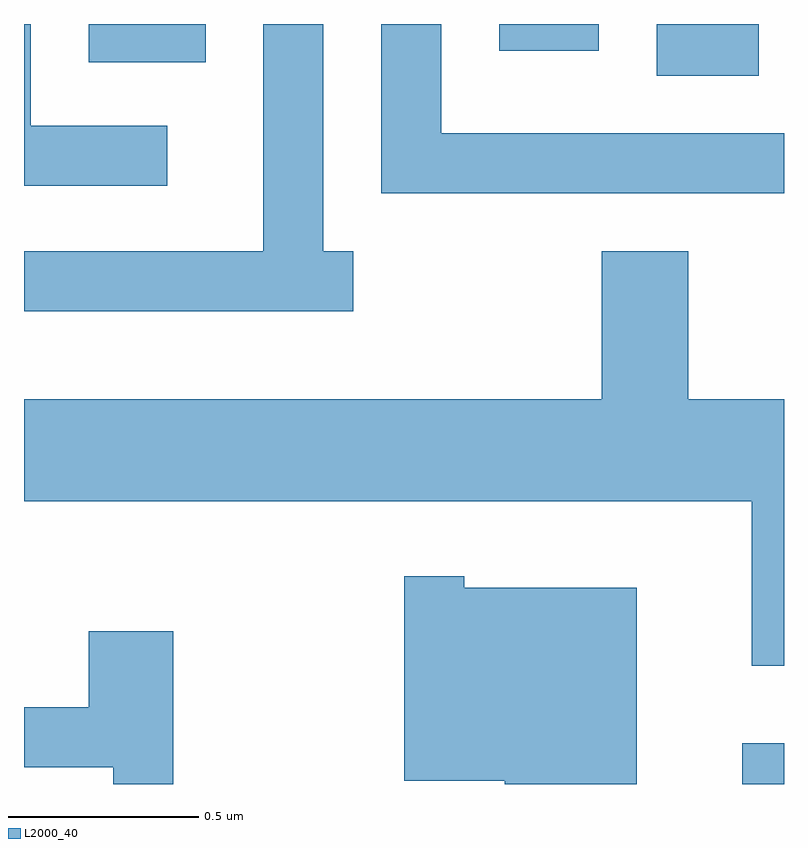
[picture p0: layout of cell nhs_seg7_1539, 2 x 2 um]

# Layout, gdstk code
import gdstk
lib = gdstk.Library(unit=1e-6, precision=1e-09)
def R(c, l, rs):  # rectangles x0, y0, x1, y1
    for r in rs: c.add(gdstk.rectangle(r[:2], r[2:], *l))
def P(c, l, *ps):  # polygons
    for p in ps: c.add(gdstk.Polygon(p, *l))
L2000_40 = (2000, 40)

nhs_seg7_1539 = lib.new_cell('nhs_seg7_1539')
R(nhs_seg7_1539, L2000_40, [(198.501,1700.252,198.611,1700.359), (198.276,1702.116,198.544,1702.252), (196.781,1702.151,197.089,1702.252), (197.861,1702.181,198.124,1702.252)])
P(nhs_seg7_1539, L2000_40, [(198.611,1701.964),(197.709,1701.964),(197.709,1702.252),(197.551,1702.252),(197.551,1701.806),(198.611,1701.806)],
  [(196.988,1701.984),(196.629,1701.984),(196.629,1702.252),(196.611,1702.252),(196.611,1701.826),(196.988,1701.826)],
  [(197.478,1701.654),(197.399,1701.654),(197.399,1702.252),(197.241,1702.252),(197.241,1701.654),(196.611,1701.654),(196.611,1701.496),(197.478,1701.496)],
  [(198.611,1701.264),(198.359,1701.264),(198.359,1701.654),(198.131,1701.654),(198.131,1701.264),(196.611,1701.264),(196.611,1700.996),(198.526,1700.996),(198.526,1700.563),(198.611,1700.563)],
  [(198.224,1700.769),(197.769,1700.769),(197.769,1700.799),(197.611,1700.799),(197.611,1700.261),(197.876,1700.261),(197.876,1700.252),(198.224,1700.252)],
  [(197.004,1700.654),(196.781,1700.654),(196.781,1700.454),(196.611,1700.454),(196.611,1700.296),(196.846,1700.296),(196.846,1700.252),(197.004,1700.252)])

lib.write_gds('nhs_seg7_1539.gds')
